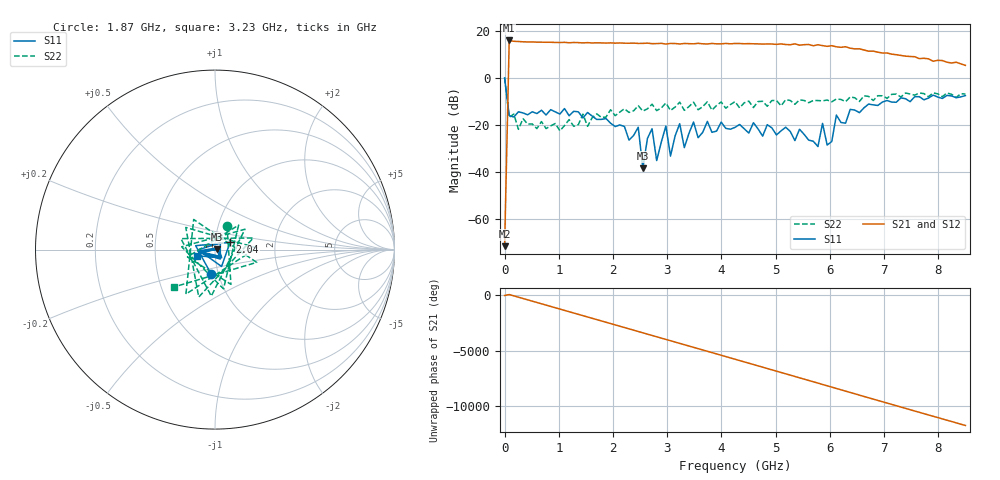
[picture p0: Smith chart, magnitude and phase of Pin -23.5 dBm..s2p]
! RsaToolbox (C) 2013 Rohde & Schwarz America
! Number of points: 101
! Number of ports: 2
! Balanced ports?: 0
# Hz S RI R 50
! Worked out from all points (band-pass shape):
!   101 points, 9 kHz to 8.5 GHz, reference 50 ohm
!   highest |S21| = 16.11 dB at 85.01 MHz (marker M1); lowest = -71.6 dB at 9 kHz (marker M2)
!   |S21| within 3 dB of the highest: 82.1 MHz to 6.333 GHz (6.251 GHz wide, 195 % of centre)
!   lowest |S11| = -38.4 dB at 2.55 GHz (marker M3), VSWR 1.02, Z = 51.2 + j0.181 ohm
!   |S11| at or under -10 dB: 53.52 MHz to 6.99 GHz (6.936 GHz wide, 197 % of centre); 7.118 GHz to 7.236 GHz (118.6 MHz wide, 1.65 % of centre)
!   |S22| runs from -22.4 to 0.2 dB; largest |S21 - S12| = 0
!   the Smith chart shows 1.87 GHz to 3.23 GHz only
!   S11 on the Smith chart (normalised r, x): 1.87 GHz: 0.92, -0.26; 2.04 GHz: 1.18, +0.10; 3.23 GHz: 0.81, -0.06
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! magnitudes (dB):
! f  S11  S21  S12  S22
! 9 kHz  0.1  -71.6  -71.6  0.2
! 85.01 MHz  -16.0  16.1  16.1  -16.7
! 1.02 GHz  -15.3  15.2  15.2  -22.4
! 1.445 GHz  -16.9  15.1  15.1  -15.3
! 1.87 GHz  -17.2  15.0  15.0  -16.6
! 2.04 GHz  -20.6  15.0  15.0  -16.0
! 2.465 GHz  -20.9  14.8  14.8  -11.7
! 2.55 GHz  -38.4  14.9  14.9  -14.0
! 2.72 GHz  -21.5  14.7  14.7  -11.1
! 2.805 GHz  -35.1  14.8  14.8  -13.8
! 2.89 GHz  -27.3  14.9  14.9  -12.7
! 2.975 GHz  -20.4  14.6  14.6  -10.6
! 3.06 GHz  -33.2  14.8  14.8  -13.7
! 3.23 GHz  -19.4  14.6  14.6  -10.2
! 3.315 GHz  -29.6  14.8  14.8  -13.7
! 3.485 GHz  -18.7  14.7  14.7  -10.2
! 3.57 GHz  -25.4  14.9  14.9  -13.4
! 4.25 GHz  -21.0  14.8  14.8  -10.0
! 5.695 GHz  -26.9  13.8  13.8  -9.5
! 6.12 GHz  -15.7  13.4  13.4  -8.8
! 7.14 GHz  -10.2  10.3  10.3  -6.9
! 8.5 GHz  -7.4  5.5  5.5  -6.7
